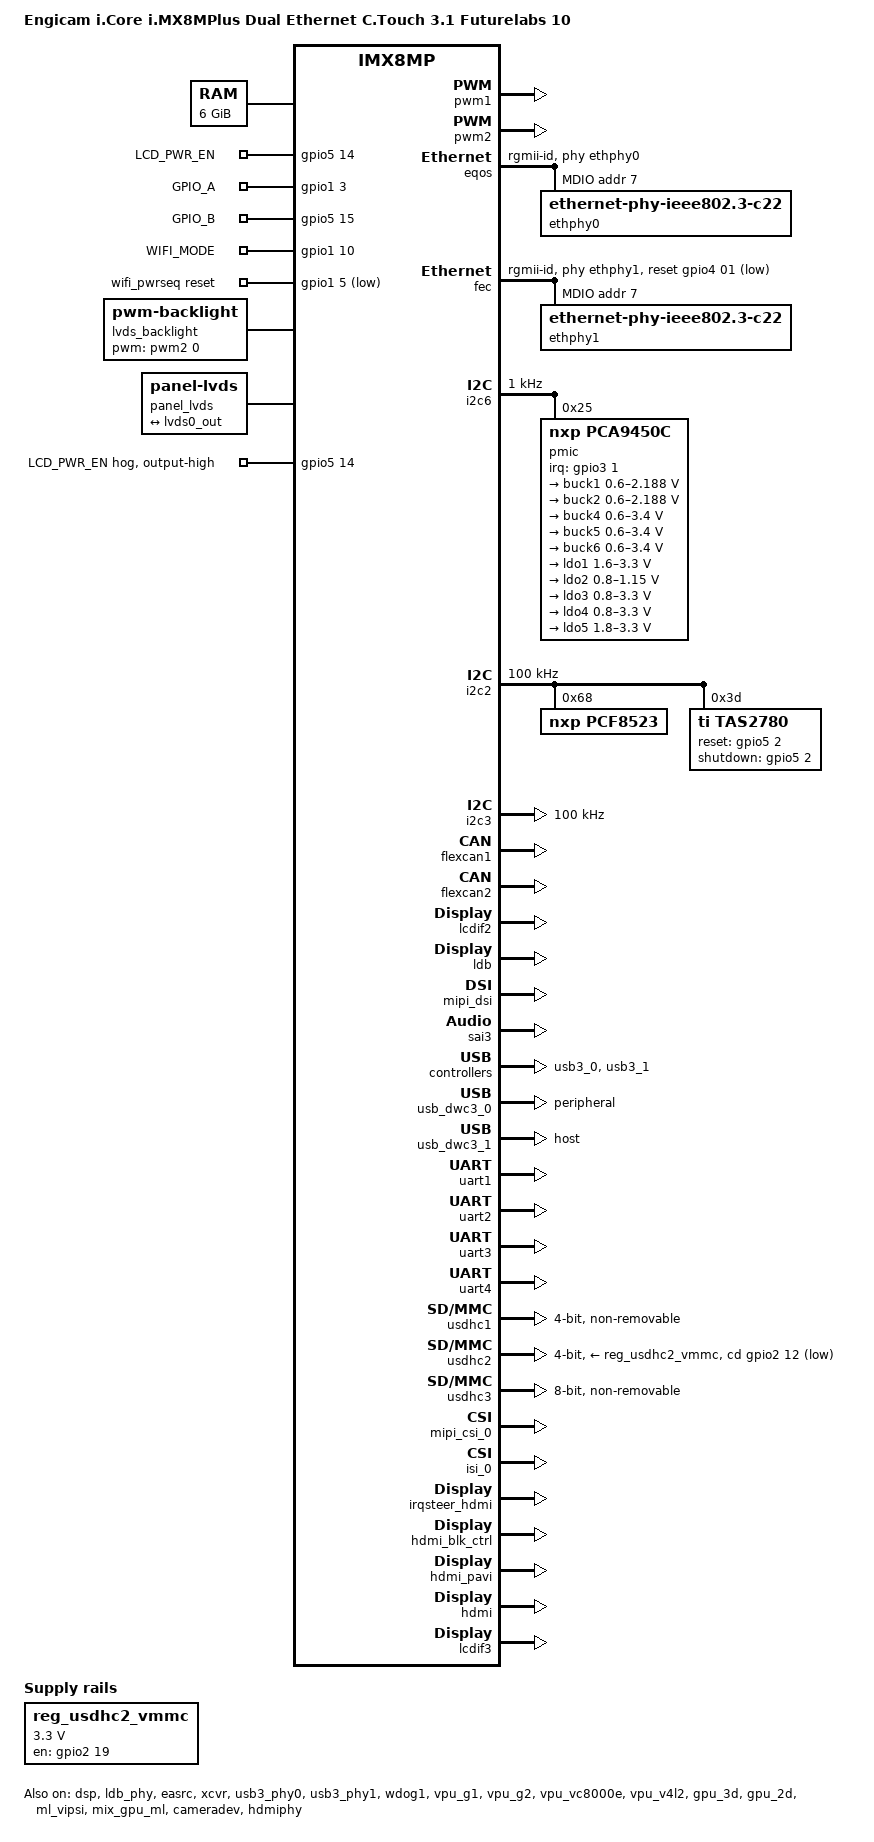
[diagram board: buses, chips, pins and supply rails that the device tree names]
// SPDX-License-Identifier: (GPL-2.0+ OR MIT)
/*
 * Copyright 2022 Engicam
 */

/dts-v1/;

#include <dt-bindings/phy/phy-imx8-pcie.h>
#include <dt-bindings/usb/pd.h>
#include "../freescale/imx8mp.dtsi"


/ {
	model = "Engicam i.Core i.MX8MPlus Dual Ethernet C.Touch 3.1 Futurelabs 10";
	compatible = "engi,imx8-icore", "fsl,imx8mp";

	chosen {
		stdout-path = &uart2;
	};

	aliases {
		rtc1 = &snvs_rtc;
	};

	memory@40000000 {
		device_type = "memory";
		reg = <0x0 0x40000000 0 0xc0000000>,
		      <0x1 0x00000000 0 0xc0000000>;
	};

	gpio_export {
		compatible = "gpio-export";
		#size-cells = <0>;

		LCD_PWR_EN {
			gpio-export,name = "LCD_PWR_EN";
			gpio-export,output = <1>;
			gpios = <&gpio5 14 0>;
		};

		GPIO_A {
			gpio-export,name = "GPIO_A";
			gpio-export,output = <0>;
			gpios = <&gpio1 3 0>;
		};

		GPIO_B {
			gpio-export,name = "GPIO_B";
			gpio-export,output = <0>;
			gpios = <&gpio5 15 0>;
		};

		WIFI_MODE {
			gpio-export,name = "WIFI_MODE";
			gpio-export,output = <1>;
			gpios = <&gpio1 10 0>;
		};
	};

	wifi_pwrseq: wifi_pwrseq {
		compatible = "mmc-pwrseq-simple";
		reset-gpios = <&gpio1 5 GPIO_ACTIVE_LOW>;
	};

	reg_usdhc2_vmmc: regulator-usdhc2 {
		compatible = "regulator-fixed";
		regulator-name = "VSD_3V3";
		regulator-min-microvolt = <3300000>;
		regulator-max-microvolt = <3300000>;
		gpio = <&gpio2 19 GPIO_ACTIVE_HIGH>;
		enable-active-high;
		startup-delay-us = <100>;
		off-on-delay-us = <12000>;
	};



	sound {
		compatible = "simple-audio-card";
		simple-audio-card,name = "tas2780-audio";
		simple-audio-card,format = "i2s";
		simple-audio-card,bitclock-master = <&dailink_master1>;
		simple-audio-card,frame-master = <&dailink_master1>;

		dailink_master1: simple-audio-card,cpu {
			sound-dai = <&sai3>;
		};

		simple-audio-card,codec {
			sound-dai = <&tas2780>;
		};
	};

	lvds_backlight: lvds_backlight {
		compatible = "pwm-backlight";
		pwms = <&pwm2 0 100000 0>;
		status = "okay";

		brightness-levels = < 0  1  2  3  4  5  6  7  8  9
				     10 11 12 13 14 15 16 17 18 19
				     20 21 22 23 24 25 26 27 28 29
				     30 31 32 33 34 35 36 37 38 39
				     40 41 42 43 44 45 46 47 48 49
				     50 51 52 53 54 55 56 57 58 59
				     60 61 62 63 64 65 66 67 68 69
				     70 71 72 73 74 75 76 77 78 79
				     80 81 82 83 84 85 86 87 88 89
				     90 91 92 93 94 95 96 97 98 99
				    100>;
		default-brightness-level = <80>;
	};

	panel_lvds: panel-lvds {
		compatible = "panel-lvds";

		width-mm = <210>;
		height-mm = <158>;
		data-mapping = "vesa-24";
		status = "okay";

		panel-timing {
			clock-frequency = <72000000>;
			hactive = <1280>;
			vactive = <800>;
			hsync-len = <136>;
			hfront-porch = <20>;
			hback-porch = <160>;
			vfront-porch = <3>;
			vback-porch = <29>;
			vsync-len = <6>;
			de-active = <1>;
		};

		port {
			panel_in_lvds: endpoint {
				remote-endpoint = <&lvds0_out>;
			};
		};
	};
};

&A53_0 {
	cpu-supply = <&buck2>;
};

&A53_1 {
	cpu-supply = <&buck2>;
};

&A53_2 {
	cpu-supply = <&buck2>;
};

&A53_3 {
	cpu-supply = <&buck2>;
};

&dsp {
	status = "okay";
};

&pwm1 {
	pinctrl-names = "default";
	pinctrl-0 = <&pinctrl_pwm1>;
	status = "okay";
};

&pwm2 {
	pinctrl-names = "default";
	pinctrl-0 = <&pinctrl_pwm2>;
	status = "okay";
};

&eqos {
	pinctrl-names = "default";
	pinctrl-0 = <&pinctrl_eqos>;
	phy-mode = "rgmii-id";
	phy-handle = <&ethphy0>;
	snps,force_thresh_dma_mode;
	snps,mtl-tx-config = <&mtl_tx_setup>;
	snps,mtl-rx-config = <&mtl_rx_setup>;
	status = "okay";

	mdio {
		compatible = "snps,dwmac-mdio";
		#address-cells = <1>;
		#size-cells = <0>;

		ethphy0: ethernet-phy@7 {
			compatible = "ethernet-phy-ieee802.3-c22";
			reg = <7>;
			eee-broken-1000t;
			realtek,clkout-disable;
		};
	};

	mtl_tx_setup: tx-queues-config {
		snps,tx-queues-to-use = <5>;
		snps,tx-sched-sp;
		queue0 {
			snps,dcb-algorithm;
			snps,priority = <0x1>;
		};
		queue1 {
			snps,dcb-algorithm;
			snps,priority = <0x2>;
		};
		queue2 {
			snps,dcb-algorithm;
			snps,priority = <0x4>;
		};
		queue3 {
			snps,dcb-algorithm;
			snps,priority = <0x8>;
		};
		queue4 {
			snps,dcb-algorithm;
			snps,priority = <0xf0>;
		};
	};
	mtl_rx_setup: rx-queues-config {
		snps,rx-queues-to-use = <5>;
		snps,rx-sched-sp;
		queue0 {
			snps,dcb-algorithm;
			snps,priority = <0x1>;
			snps,map-to-dma-channel = <0>;
		};
		queue1 {
			snps,dcb-algorithm;
			snps,priority = <0x2>;
			snps,map-to-dma-channel = <1>;
		};
		queue2 {
			snps,dcb-algorithm;
			snps,priority = <0x4>;
			snps,map-to-dma-channel = <2>;
		};
		queue3 {
			snps,dcb-algorithm;
			snps,priority = <0x8>;
			snps,map-to-dma-channel = <3>;
		};
		queue4 {
			snps,dcb-algorithm;
			snps,priority = <0xf0>;
			snps,map-to-dma-channel = <4>;
		};
	};
};

&fec {
	pinctrl-names = "default";
	pinctrl-0 = <&pinctrl_fec>;
	phy-mode = "rgmii-id";
	phy-handle = <&ethphy1>;
	fsl,magic-packet;
	status = "okay";

	snps,reset-gpio = <&gpio4 01 GPIO_ACTIVE_LOW>;
	snps,reset-active-low;

	mdio {
		#address-cells = <1>;
		#size-cells = <0>;

		ethphy1: ethernet-phy@7 {
			compatible = "ethernet-phy-ieee802.3-c22";
			reg = <7>;
			eee-broken-1000t;
		};
	};
};

&i2c6 {
	clock-frequency = <1000>;
	pinctrl-names = "default";
	pinctrl-0 = <&pinctrl_i2c6>;
	status = "okay";

	pmic@25 {
		compatible = "nxp,pca9450c";
		reg = <0x25>;
		pinctrl-names = "default";
		pinctrl-0 = <&pinctrl_pmic>;
		interrupt-parent = <&gpio3>;
		interrupts = <1 IRQ_TYPE_LEVEL_LOW>;
		engi,wdog_b-warm-reset;

		regulators {
			buck1: BUCK1 {
				regulator-name = "BUCK1";
				regulator-min-microvolt = <600000>;
				regulator-max-microvolt = <2187500>;
				regulator-boot-on;
				regulator-always-on;
				regulator-ramp-delay = <3125>;
			};

			buck2: BUCK2 {
				regulator-name = "BUCK2";
				regulator-min-microvolt = <600000>;
				regulator-max-microvolt = <2187500>;
				regulator-boot-on;
				regulator-always-on;
				regulator-ramp-delay = <3125>;
				nxp,dvs-run-voltage = <950000>;
				nxp,dvs-standby-voltage = <850000>;
			};

			buck4: BUCK4{
				regulator-name = "BUCK4";
				regulator-min-microvolt = <600000>;
				regulator-max-microvolt = <3400000>;
				regulator-boot-on;
				regulator-always-on;
			};

			buck5: BUCK5{
				regulator-name = "BUCK5";
				regulator-min-microvolt = <600000>;
				regulator-max-microvolt = <3400000>;
				regulator-boot-on;
				regulator-always-on;
			};

			buck6: BUCK6 {
				regulator-name = "BUCK6";
				regulator-min-microvolt = <600000>;
				regulator-max-microvolt = <3400000>;
				regulator-boot-on;
				regulator-always-on;
			};

			ldo1: LDO1 {
				regulator-name = "LDO1";
				regulator-min-microvolt = <1600000>;
				regulator-max-microvolt = <3300000>;
				regulator-boot-on;
				regulator-always-on;
			};

			ldo2: LDO2 {
				regulator-name = "LDO2";
				regulator-min-microvolt = <800000>;
				regulator-max-microvolt = <1150000>;
				regulator-boot-on;
				regulator-always-on;
			};

			ldo3: LDO3 {
				regulator-name = "LDO3";
				regulator-min-microvolt = <800000>;
				regulator-max-microvolt = <3300000>;
				regulator-boot-on;
				regulator-always-on;
			};

			ldo4: LDO4 {
				regulator-name = "LDO4";
				regulator-min-microvolt = <800000>;
				regulator-max-microvolt = <3300000>;
				regulator-boot-on;
				regulator-always-on;
			};

			ldo5: LDO5 {
				regulator-name = "LDO5";
				regulator-min-microvolt = <1800000>;
				regulator-max-microvolt = <3300000>;
				regulator-boot-on;
				regulator-always-on;
			};
		};
	};
};

&i2c2 {
	clock-frequency = <100000>;
	pinctrl-names = "default";
	pinctrl-0 = <&pinctrl_i2c2>;
	status = "okay";

	pcf8523: rtc@68 {
		compatible = "nxp,pcf8523";
		reg = <0x68>;
	};

	tas2780: codec@3d {
		compatible = "ti,tas2780";
		reg = <0x3d>;
		pinctrl-names = "default";
		pinctrl-0 = <&pinctrl_tas2780>;
		#sound-dai-cells = <0>;
		reset-gpios = <&gpio5 2 0>;
		shutdown-gpios = <&gpio5 2 0>;
		ti,imon-slot-no = <0>;
		ti,vmon-slot-no = <2>;
	};
};

&i2c3 {
	clock-frequency = <100000>;
	pinctrl-names = "default";
	pinctrl-0 = <&pinctrl_i2c3>;
	status = "okay";
};

&flexcan1 {
	pinctrl-names = "default";
	pinctrl-0 = <&pinctrl_flexcan1>;
	status = "okay";
};

&flexcan2 {
	pinctrl-names = "default";
	pinctrl-0 = <&pinctrl_flexcan2>;
	status = "okay";
};

&lcdif2 {
	status = "okay";
};

&ldb {
	status = "okay";

	lvds-channel@0 {
		status = "okay";

		port@1 {
			reg = <1>;

			lvds0_out: endpoint {
				remote-endpoint = <&panel_in_lvds>;
			};
		};
	};
};

&ldb_phy {
	status = "okay";
};

&mipi_dsi {
	status = "okay";
};

&easrc {
	fsl,asrc-rate  = <48000>;
	status = "okay";
};

&sai3 {
	#sound-dai-cells = <0>;
	pinctrl-names = "default";
	pinctrl-0 = <&pinctrl_sai3>;
	assigned-clocks = <&clk IMX8MP_CLK_SAI3>;
	assigned-clock-parents = <&clk IMX8MP_AUDIO_PLL2_OUT>;
	assigned-clock-rates = <11289600>;
	clocks = <&audio_blk_ctrl IMX8MP_CLK_AUDIO_BLK_CTRL_SAI3_IPG>, <&clk IMX8MP_CLK_DUMMY>,
		 <&audio_blk_ctrl IMX8MP_CLK_AUDIO_BLK_CTRL_SAI3_MCLK1>, <&clk IMX8MP_CLK_DUMMY>,
		 <&clk IMX8MP_CLK_DUMMY>;
	clock-names = "bus", "mclk0", "mclk1", "mclk2", "mclk3";
	fsl,sai-mclk-direction-output;
	status = "okay";
};

&xcvr {
	#sound-dai-cells = <0>;
	status = "okay";
};

&sdma2 {
	status = "okay";
};

&usb3_phy0 {
	status = "okay";
};

&usb3_0 {
	status = "okay";
};

&usb_dwc3_0 {
	dr_mode = "peripheral";
	status = "okay";
};

&usb3_phy1 {
	status = "okay";
};

&usb3_1 {
	status = "okay";
};

&usb_dwc3_1 {
	dr_mode = "host";
	status = "okay";
};

/* RS232 */
&uart1 {
	pinctrl-names = "default";
	pinctrl-0 = <&pinctrl_uart1>;
	status = "okay";
};

/* CONSOLE LINUX */
&uart2 {
	/* console */
	pinctrl-names = "default";
	pinctrl-0 = <&pinctrl_uart2>;
	status = "okay";
};

/* RS485 */
&uart3 {
	pinctrl-names = "default";
	pinctrl-0 = <&pinctrl_uart3>;
	assigned-clocks = <&clk IMX8MP_CLK_UART3>;
	assigned-clock-parents = <&clk IMX8MP_SYS_PLL1_80M>;
	fsl,uart-has-rtscts;
	status = "okay";
};

/* RS232_EXT */
&uart4 {
	pinctrl-names = "default";
	pinctrl-0 = <&pinctrl_uart4>;
	assigned-clocks = <&clk IMX8MP_CLK_UART4>;
	assigned-clock-parents = <&clk IMX8MP_SYS_PLL1_80M>;
	status = "okay";
};

/* WIFI */
&usdhc1 {
	#address-cells = <1>;
	#size-cells = <0>;
	pinctrl-names = "default";
	pinctrl-0 = <&pinctrl_usdhc1>, <&pinctrl_panasonic>;
	bus-width = <4>;
	no-1-8-v;
	pm-ignore-notify;
	keep-power-in-suspend;
	mmc-pwrseq = <&wifi_pwrseq>;
	non-removable;
	status = "okay";
};

/* SDCARD */
&usdhc2 {
	pinctrl-names = "default";
	pinctrl-0 = <&pinctrl_usdhc2>, <&pinctrl_usdhc2_gpio>;
	cd-gpios = <&gpio2 12 GPIO_ACTIVE_LOW>;
	vmmc-supply = <&reg_usdhc2_vmmc>;
 	no-1-8-v;
	max-frequency = <35000000>;
	bus-width = <4>;
	status = "okay";
};

/* EMMC */
&usdhc3 {
	pinctrl-names = "default", "state_100mhz", "state_200mhz";
	pinctrl-0 = <&pinctrl_usdhc3>;
	pinctrl-1 = <&pinctrl_usdhc3_100mhz>;
	pinctrl-2 = <&pinctrl_usdhc3_200mhz>;
	bus-width = <8>;
	non-removable;
	status = "okay";
};

&wdog1 {
	pinctrl-names = "default";
	pinctrl-0 = <&pinctrl_wdog>;
	fsl,ext-reset-output;
	status = "okay";
};

&iomuxc {
	pinctrl-names = "default";
	pinctrl-0 = <&pinctrl_hog>;

	pinctrl_hog: hoggrp {
		fsl,pins = <
			MX8MP_IOMUXC_HDMI_DDC_SCL__HDMIMIX_HDMI_SCL	0x400001c3
			MX8MP_IOMUXC_HDMI_DDC_SDA__HDMIMIX_HDMI_SDA	0x400001c3
			MX8MP_IOMUXC_HDMI_HPD__HDMIMIX_HDMI_HPD		0x40000019
			MX8MP_IOMUXC_HDMI_CEC__HDMIMIX_HDMI_CEC		0x40000019
			MX8MP_IOMUXC_I2C1_SCL__GPIO5_IO14			0x119		/* LCD_PWR_EN */
			MX8MP_IOMUXC_GPIO1_IO03__GPIO1_IO03			0x119  		/* GPIO_A */
			MX8MP_IOMUXC_I2C1_SDA__GPIO5_IO15			0x119		/* GPIO_B */
		>;
	};

	pinctrl_pwm1: pwm1grp {
		fsl,pins = <
			MX8MP_IOMUXC_GPIO1_IO01__PWM1_OUT	0x116
		>;
	};

	pinctrl_pwm2: pwm2grp {
		fsl,pins = <
			MX8MP_IOMUXC_GPIO1_IO11__PWM2_OUT	0x116
		>;
	};

	pinctrl_eqos: eqosgrp {
		fsl,pins = <
			MX8MP_IOMUXC_ENET_MDC__ENET_QOS_MDC	0x3
			MX8MP_IOMUXC_ENET_MDIO__ENET_QOS_MDIO	0x3
			MX8MP_IOMUXC_ENET_RD0__ENET_QOS_RGMII_RD0	0x91
			MX8MP_IOMUXC_ENET_RD1__ENET_QOS_RGMII_RD1	0x91
			MX8MP_IOMUXC_ENET_RD2__ENET_QOS_RGMII_RD2	0x91
			MX8MP_IOMUXC_ENET_RD3__ENET_QOS_RGMII_RD3	0x91
			MX8MP_IOMUXC_ENET_RXC__CCM_ENET_QOS_CLOCK_GENERATE_RX_CLK	0x91
			MX8MP_IOMUXC_ENET_RX_CTL__ENET_QOS_RGMII_RX_CTL	0x91
			MX8MP_IOMUXC_ENET_TD0__ENET_QOS_RGMII_TD0		0x1f
			MX8MP_IOMUXC_ENET_TD1__ENET_QOS_RGMII_TD1		0x1f
			MX8MP_IOMUXC_ENET_TD2__ENET_QOS_RGMII_TD2		0x1f
			MX8MP_IOMUXC_ENET_TD3__ENET_QOS_RGMII_TD3		0x1f
			MX8MP_IOMUXC_ENET_TX_CTL__ENET_QOS_RGMII_TX_CTL	0x1f
			MX8MP_IOMUXC_ENET_TXC__CCM_ENET_QOS_CLOCK_GENERATE_TX_CLK	0x1f
			MX8MP_IOMUXC_NAND_DATA01__GPIO3_IO07	0x19
		>;
	};

	pinctrl_fec: fecgrp {
		fsl,pins = <
			MX8MP_IOMUXC_SAI1_RXD2__ENET1_MDC		0x3
			MX8MP_IOMUXC_SAI1_RXD3__ENET1_MDIO		0x3
			MX8MP_IOMUXC_SAI1_RXD4__ENET1_RGMII_RD0		0x91
			MX8MP_IOMUXC_SAI1_RXD5__ENET1_RGMII_RD1		0x91
			MX8MP_IOMUXC_SAI1_RXD6__ENET1_RGMII_RD2		0x91
			MX8MP_IOMUXC_SAI1_RXD7__ENET1_RGMII_RD3		0x91
			MX8MP_IOMUXC_SAI1_TXC__ENET1_RGMII_RXC		0x91
			MX8MP_IOMUXC_SAI1_TXFS__ENET1_RGMII_RX_CTL	0x91
			MX8MP_IOMUXC_SAI1_TXD0__ENET1_RGMII_TD0		0x1f
			MX8MP_IOMUXC_SAI1_TXD1__ENET1_RGMII_TD1		0x1f
			MX8MP_IOMUXC_SAI1_TXD2__ENET1_RGMII_TD2		0x1f
			MX8MP_IOMUXC_SAI1_TXD3__ENET1_RGMII_TD3		0x1f
			MX8MP_IOMUXC_SAI1_TXD4__ENET1_RGMII_TX_CTL	0x1f
			MX8MP_IOMUXC_SAI1_TXD5__ENET1_RGMII_TXC		0x1f
			MX8MP_IOMUXC_SAI1_RXC__GPIO4_IO01 		0x19
		>;
	};

	pinctrl_flexcan1: flexcan1grp {
		fsl,pins = <
			MX8MP_IOMUXC_SPDIF_RX__CAN1_RX          0x154
			MX8MP_IOMUXC_SPDIF_TX__CAN1_TX          0x154
		>;
	};

	pinctrl_flexcan2: flexcan2grp {
		fsl,pins = <
			MX8MP_IOMUXC_UART3_TXD__CAN2_RX		0x154
			MX8MP_IOMUXC_UART3_RXD__CAN2_TX		0x154
		>;
	};

	pinctrl_i2c6: i2c6grp {
		fsl,pins = <
			MX8MP_IOMUXC_SAI5_RXFS__I2C6_SCL		0x400001c2
			MX8MP_IOMUXC_SAI5_RXC__I2C6_SDA		0x400001c2
		>;
	};

	pinctrl_i2c2: i2c2grp {
		fsl,pins = <
			MX8MP_IOMUXC_I2C2_SCL__I2C2_SCL		0x400001c2
			MX8MP_IOMUXC_I2C2_SDA__I2C2_SDA		0x400001c2
		>;
	};

	pinctrl_i2c3: i2c3grp {
		fsl,pins = <
			MX8MP_IOMUXC_I2C3_SCL__I2C3_SCL		0x400001c2
			MX8MP_IOMUXC_I2C3_SDA__I2C3_SDA		0x400001c2
		>;
	};


	pinctrl_pmic: pmicirq {
		fsl,pins = <
			MX8MP_IOMUXC_NAND_CE0_B__GPIO3_IO01	0x000001c0
		>;
	};

	pinctrl_sai3: sai3grp {
		fsl,pins = <
			MX8MP_IOMUXC_SAI3_TXFS__AUDIOMIX_SAI3_TX_SYNC	0xd6
			MX8MP_IOMUXC_SAI3_TXC__AUDIOMIX_SAI3_TX_BCLK	0xd6
			MX8MP_IOMUXC_SAI3_RXD__AUDIOMIX_SAI3_RX_DATA00	0xd6
			MX8MP_IOMUXC_SAI3_TXD__AUDIOMIX_SAI3_TX_DATA00	0xd6
		>;
	};

	pinctrl_tas2780: tas2780grp {
		fsl,pins = <
			MX8MP_IOMUXC_SAI3_MCLK__GPIO5_IO02	0x19
		>;
	};


	pinctrl_uart1: uart1grp {
		fsl,pins = <
			MX8MP_IOMUXC_UART1_RXD__UART1_DCE_RX	0x140
			MX8MP_IOMUXC_UART1_TXD__UART1_DCE_TX	0x140
		>;
	};

	pinctrl_uart2: uart2grp {
		fsl,pins = <
			MX8MP_IOMUXC_UART2_RXD__UART2_DCE_RX	0x49
			MX8MP_IOMUXC_UART2_TXD__UART2_DCE_TX	0x49
		>;
	};

	pinctrl_uart3: uart3grp {
		fsl,pins = <
			MX8MP_IOMUXC_SD1_DATA7__UART3_DCE_RX	0x140
			MX8MP_IOMUXC_SD1_DATA6__UART3_DCE_TX	0x140
			MX8MP_IOMUXC_SD1_STROBE__UART3_DCE_CTS	0x140
			MX8MP_IOMUXC_SD1_RESET_B__UART3_DCE_RTS 0x140
		>;
	};

	pinctrl_uart4: uart4grp {
		fsl,pins = <
			MX8MP_IOMUXC_UART4_RXD__UART4_DCE_RX	0x49
			MX8MP_IOMUXC_UART4_TXD__UART4_DCE_TX	0x49
		>;
	};

	pinctrl_usdhc1: usdhc1grp {
		fsl,pins = <
			MX8MP_IOMUXC_SD1_CLK__USDHC1_CLK	0x194
			MX8MP_IOMUXC_SD1_CMD__USDHC1_CMD	0x1d4
			MX8MP_IOMUXC_SD1_DATA0__USDHC1_DATA0	0x1d4
			MX8MP_IOMUXC_SD1_DATA1__USDHC1_DATA1	0x1d4
			MX8MP_IOMUXC_SD1_DATA2__USDHC1_DATA2	0x1d4
			MX8MP_IOMUXC_SD1_DATA3__USDHC1_DATA3	0x1d4
		>;
	};

	pinctrl_panasonic: panasonicdgrp {
		fsl,pins = <
			MX8MP_IOMUXC_GPIO1_IO05__GPIO1_IO05	0x41 /* WL_REG_ON */
			MX8MP_IOMUXC_GPIO1_IO10__GPIO1_IO10 0x41 /* WIFI_MODE */
		>;
	};

	pinctrl_usdhc2: usdhc2grp {
		fsl,pins = <
			MX8MP_IOMUXC_SD2_CLK__USDHC2_CLK	0x190
			MX8MP_IOMUXC_SD2_CMD__USDHC2_CMD	0x1d0
			MX8MP_IOMUXC_SD2_DATA0__USDHC2_DATA0	0x1d0
			MX8MP_IOMUXC_SD2_DATA1__USDHC2_DATA1	0x1d0
			MX8MP_IOMUXC_SD2_DATA2__USDHC2_DATA2	0x1d0
			MX8MP_IOMUXC_SD2_DATA3__USDHC2_DATA3	0x1d0
			MX8MP_IOMUXC_GPIO1_IO04__USDHC2_VSELECT	0xc1
		>;
	};

	pinctrl_usdhc2_gpio: usdhc2gpiogrp {
		fsl,pins = <
			MX8MP_IOMUXC_SD2_CD_B__GPIO2_IO12 	0x1c4
		>;
	};

	pinctrl_usdhc3: usdhc3grp {
		fsl,pins = <
			MX8MP_IOMUXC_NAND_WE_B__USDHC3_CLK	0x190
			MX8MP_IOMUXC_NAND_WP_B__USDHC3_CMD	0x1d0
			MX8MP_IOMUXC_NAND_DATA04__USDHC3_DATA0	0x1d0
			MX8MP_IOMUXC_NAND_DATA05__USDHC3_DATA1	0x1d0
			MX8MP_IOMUXC_NAND_DATA06__USDHC3_DATA2	0x1d0
			MX8MP_IOMUXC_NAND_DATA07__USDHC3_DATA3	0x1d0
			MX8MP_IOMUXC_NAND_RE_B__USDHC3_DATA4	0x1d0
			MX8MP_IOMUXC_NAND_CE2_B__USDHC3_DATA5	0x1d0
			MX8MP_IOMUXC_NAND_CE3_B__USDHC3_DATA6	0x1d0
			MX8MP_IOMUXC_NAND_CLE__USDHC3_DATA7	0x1d0
			MX8MP_IOMUXC_NAND_CE1_B__USDHC3_STROBE	0x190
		>;
	};

	pinctrl_usdhc3_100mhz: usdhc3-100mhzgrp {
		fsl,pins = <
			MX8MP_IOMUXC_NAND_WE_B__USDHC3_CLK	0x194
			MX8MP_IOMUXC_NAND_WP_B__USDHC3_CMD	0x1d4
			MX8MP_IOMUXC_NAND_DATA04__USDHC3_DATA0	0x1d4
			MX8MP_IOMUXC_NAND_DATA05__USDHC3_DATA1	0x1d4
			MX8MP_IOMUXC_NAND_DATA06__USDHC3_DATA2	0x1d4
			MX8MP_IOMUXC_NAND_DATA07__USDHC3_DATA3	0x1d4
			MX8MP_IOMUXC_NAND_RE_B__USDHC3_DATA4	0x1d4
			MX8MP_IOMUXC_NAND_CE2_B__USDHC3_DATA5	0x1d4
			MX8MP_IOMUXC_NAND_CE3_B__USDHC3_DATA6	0x1d4
			MX8MP_IOMUXC_NAND_CLE__USDHC3_DATA7	0x1d4
			MX8MP_IOMUXC_NAND_CE1_B__USDHC3_STROBE	0x194
		>;
	};

	pinctrl_usdhc3_200mhz: usdhc3-200mhzgrp {
		fsl,pins = <
			MX8MP_IOMUXC_NAND_WE_B__USDHC3_CLK	0x196
			MX8MP_IOMUXC_NAND_WP_B__USDHC3_CMD	0x1d6
			MX8MP_IOMUXC_NAND_DATA04__USDHC3_DATA0	0x1d6
			MX8MP_IOMUXC_NAND_DATA05__USDHC3_DATA1	0x1d6
			MX8MP_IOMUXC_NAND_DATA06__USDHC3_DATA2	0x1d6
			MX8MP_IOMUXC_NAND_DATA07__USDHC3_DATA3	0x1d6
			MX8MP_IOMUXC_NAND_RE_B__USDHC3_DATA4	0x1d6
			MX8MP_IOMUXC_NAND_CE2_B__USDHC3_DATA5	0x1d6
			MX8MP_IOMUXC_NAND_CE3_B__USDHC3_DATA6	0x1d6
			MX8MP_IOMUXC_NAND_CLE__USDHC3_DATA7	0x1d6
			MX8MP_IOMUXC_NAND_CE1_B__USDHC3_STROBE	0x196
		>;
	};

	pinctrl_wdog: wdoggrp {
		fsl,pins = <
			MX8MP_IOMUXC_GPIO1_IO02__WDOG1_WDOG_B	0x166
		>;
	};
};

&vpu_g1 {
	status = "okay";
};

&vpu_g2 {
	status = "okay";
};

&vpu_vc8000e {
	status = "okay";
};

&vpu_v4l2 {
	status = "okay";
};

&gpu_3d {
	status = "okay";
};

&gpu_2d {
	status = "okay";
};

&ml_vipsi {
	status = "okay";
};

&mix_gpu_ml {
	status = "okay";
};

&mipi_csi_0 {
	#address-cells = <1>;
	#size-cells = <0>;
	status = "okay";
};

&cameradev {
	status = "okay";
};

&isi_0 {
	status = "okay";

	cap_device {
		status = "okay";
	};

	m2m_device {
		status = "okay";
	};
};

&irqsteer_hdmi {
	status = "okay";
};

&hdmi_blk_ctrl {
	status = "okay";
};

&hdmi_pavi {
	status = "okay";
};

&hdmi {
	status = "okay";
};

&hdmiphy {
	status = "okay";
};

&lcdif3 {
	status = "okay";
	thres-low  = <1 2>;             /* (FIFO * 1 / 2) */
	thres-high = <3 4>;             /* (FIFO * 3 / 4) */
};

&gpio1 {
        gpio-line-names = "",
                          "",
                          "",
                          "GPIO_A",
                          "",
                          "",
                          "",
                          "",
                          "",
                          "",
                          "",
                          "",
                          "",
                          "",
                          "",
                          "";
};


&gpio2 {
        gpio-line-names = "",
                          "",
                          "",
                          "",
                          "",
                          "",
                          "",
                          "",
                          "",
                          "",
                          "",
                          "",
                          "",
                          "",
                          "",
                          "";
};

&gpio3 {
        gpio-line-names = "",
                          "",
                          "",
                          "",
                          "",
                          "",
                          "",
                          "",
                          "",
                          "",
                          "",
                          "",
                          "",
                          "",
                          "",
                          "",
                          "";
};

&gpio4 {
        gpio-line-names = "",
                          "",
                          "",
                          "",
                          "",
                          "",
                          "",
                          "",
                          "",
                          "",
                          "",
                          "",
                          "",
                          "",
                          "",
                          "",
                          "",
                          "",
                          "",
                          "",
                          "",
                          "",
                          "",
                          "",
                          "",
                          "",
                          "",
                          "",
                          "",
                          "",
                          "";
};


&gpio5 {
        gpio-line-names = "",
                          "",
                          "",
                          "",
                          "",
                          "",
                          "",
                          "",
                          "",
                          "",
                          "",
                          "",
                          "",
                          "",
                          "LCD_PWR_EN",
                          "GPIO_B",
                          "",
                          "",
                          "",
                          "",
                          "",
                          "",
                          "",
                          "",
                          "",
                          "",
                          "",
                          "",
                          "",
                          "",
                          "";
		LCD_PWR_EN {
			gpio-hog;
			gpios = <14 0>; 
			output-high;
	};
};

